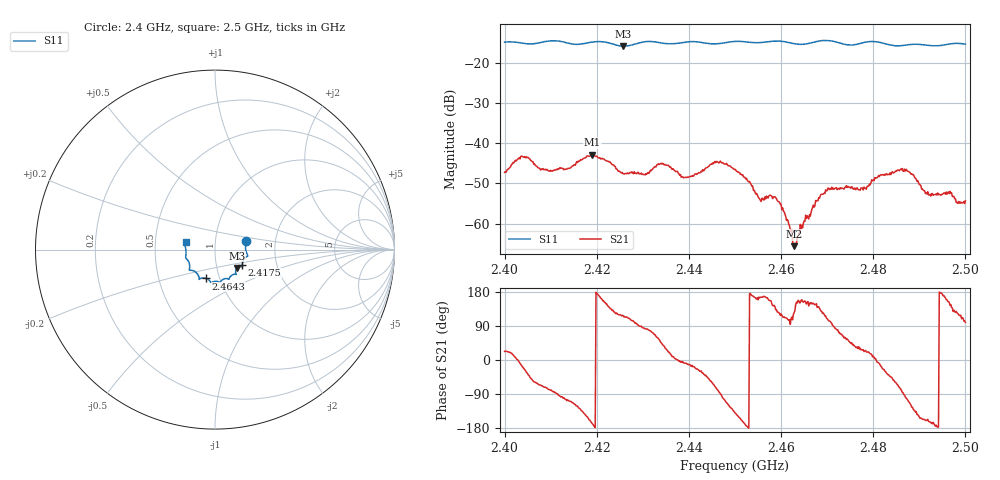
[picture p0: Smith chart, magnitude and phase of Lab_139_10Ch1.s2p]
# Hz S RI R 50
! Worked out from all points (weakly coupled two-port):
!   601 points, 2.4 GHz to 2.5 GHz, reference 50 ohm
!   highest |S21| = -42.84 dB at 2.419 GHz (marker M1); lowest = -65.6 dB at 2.4628 GHz (marker M2)
!   lowest |S11| = -15.9 dB at 2.4257 GHz (marker M3), VSWR 1.38, Z = 62.5 - j13.1 ohm
!   |S11| at or under -10 dB: start of sweep to end of sweep
!   S12 and S22 are empty: the file has one direction only
!   S11 on the Smith chart (normalised r, x): 2.4 GHz: 1.41, +0.14; 2.4175 GHz: 1.34, -0.23; 2.4643 GHz: 0.86, -0.29; 2.5 GHz: 0.72, +0.06
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2.4e9  0.1729 0.0488  0.00401 0.00167  0 0  0 0
2.404e9  0.1721 0.0254  0.00635 -0.00232  0 0  0 0
2.41e9  0.183 -0.033  0.000815 -0.00452  0 0  0 0
2.416667e9  0.1528 -0.0743  -0.00426 -0.00449  0 0  0 0
2.4175e9  0.1518 -0.0837  -0.00537 -0.00382  0 0  0 0
2.419e9  0.1525 -0.0949  -0.00705 -0.00153  0 0  0 0
2.425667e9  0.1228 -0.102  -0.00194 0.0037  0 0  0 0
2.433333e9  0.1133 -0.1373  0.003 0.00465  0 0  0 0
2.439333e9  0.0797 -0.1609  0.00372 -0.00054  0 0  0 0
2.445667e9  0.0506 -0.1632  0.00197 -0.0056  0 0  0 0
2.45e9  0.0291 -0.181  -0.00362 -0.00307  0 0  0 0
2.455333e9  -0.000774 -0.1769  -0.00195 0.000561  0 0  0 0
2.459167e9  -0.0228 -0.1838  -0.00116 0.00155  0 0  0 0
2.462833e9  -0.0353 -0.1681  -0.0003 0.000431  0 0  0 0
2.464333e9  -0.0497 -0.161  -0.000794 0.000337  0 0  0 0
2.466667e9  -0.0759 -0.1593  -0.0013 0.000733  0 0  0 0
2.470167e9  -0.0883 -0.1656  -0.000774 0.00265  0 0  0 0
2.478e9  -0.1353 -0.1154  0.00264 0.00108  0 0  0 0
2.483333e9  -0.141 -0.09  0.00316 -0.00256  0 0  0 0
2.487333e9  -0.157 -0.0539  -0.00103 -0.00442  0 0  0 0
2.491833e9  -0.1616 -0.0272  -0.00229 -0.000985  0 0  0 0
2.5e9  -0.1638 0.0428  -0.000305 0.0019  0 0  0 0
